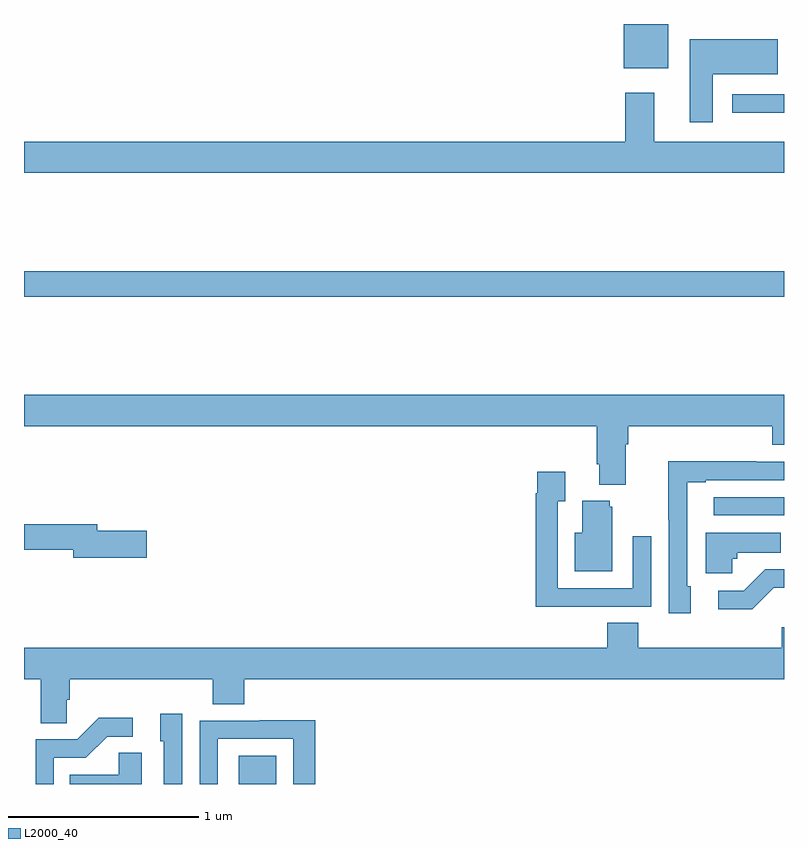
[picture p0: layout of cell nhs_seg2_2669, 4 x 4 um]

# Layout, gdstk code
import gdstk
lib = gdstk.Library(unit=1e-6, precision=1e-09)
def R(c, l, rs):  # rectangles x0, y0, x1, y1
    for r in rs: c.add(gdstk.rectangle(r[:2], r[2:], *l))
def P(c, l, *ps):  # polygons
    for p in ps: c.add(gdstk.Polygon(p, *l))
L2000_40 = (2000, 40)

nhs_seg2_2669 = lib.new_cell('nhs_seg2_2669')
R(nhs_seg2_2669, L2000_40, [(252.131,597.8,252.328,597.949), (254.631,599.214,255,599.31), (251,600.364,255,600.5), (254.727,601.334,255,601.431), (254.156,601.568,254.392,601.8)])
P(nhs_seg2_2669, L2000_40, [(254.626,601.535),(254.968,601.535),(254.968,601.72),(254.504,601.72),(254.504,601.284),(254.626,601.284)],
  [(255,601.18),(254.317,601.18),(254.317,601.438),(254.165,601.438),(254.165,601.18),(251,601.18),(251,601.016),(255,601.016)],
  [(254.167,599.588),(254.18,599.588),(254.18,599.684),(254.939,599.684),(254.939,599.585),(255,599.585),(255,599.848),(251,599.848),(251,599.684),(254.015,599.684),(254.015,599.482),(254.027,599.482),(254.027,599.375),(254.167,599.375)],
  [(254.509,598.842),(254.49,598.842),(254.49,599.388),(254.587,599.388),(254.587,599.4),(255,599.4),(255,599.496),(254.855,599.496),(254.855,599.498),(254.392,599.498),(254.392,599.191),(254.394,599.191),(254.394,598.698),(254.509,598.698)],
  [(253.985,598.734),(254.301,598.734),(254.301,599.104),(254.205,599.104),(254.205,598.83),(253.809,598.83),(253.809,599.287),(253.849,599.287),(253.849,599.443),(253.701,599.443),(253.701,599.33),(253.693,599.33),(253.693,598.733),(253.985,598.733)],
  [(254.095,599.259),(254.084,599.259),(254.084,599.29),(253.937,599.29),(253.937,599.122),(253.898,599.122),(253.898,598.919),(254.095,598.919)],
  [(251.647,599.132),(251.386,599.132),(251.386,599.168),(251,599.168),(251,599.032),(251.258,599.032),(251.258,598.99),(251.647,598.99)],
  [(254.727,598.986),(254.754,598.986),(254.754,599.018),(254.984,599.018),(254.984,599.122),(254.588,599.122),(254.588,598.91),(254.727,598.91)],
  [(254.946,598.833),(255,598.833),(255,598.929),(254.9,598.929),(254.789,598.818),(254.655,598.818),(254.655,598.721),(254.833,598.721)],
  [(251.226,598.243),(251.24,598.243),(251.24,598.352),(251.993,598.352),(251.993,598.219),(252.158,598.219),(252.158,598.352),(255,598.352),(255,598.625),(254.987,598.625),(254.987,598.516),(254.234,598.516),(254.234,598.649),(254.069,598.649),(254.069,598.516),(251,598.516),(251,598.352),(251.087,598.352),(251.087,598.12),(251.226,598.12)],
  [(251.832,598.171),(251.717,598.171),(251.717,598.026),(251.736,598.026),(251.736,597.8),(251.832,597.8)],
  [(251.157,597.939),(251.326,597.939),(251.437,598.05),(251.572,598.05),(251.572,598.148),(251.393,598.148),(251.28,598.035),(251.061,598.035),(251.061,597.8),(251.157,597.8)],
  [(252.021,598.038),(252.417,598.038),(252.417,597.8),(252.533,597.8),(252.533,598.136),(252.241,598.136),(252.241,598.134),(251.925,598.134),(251.925,597.8),(252.021,597.8)],
  [(251.62,597.965),(251.499,597.965),(251.499,597.85),(251.242,597.85),(251.242,597.8),(251.62,597.8)])

lib.write_gds('nhs_seg2_2669.gds')
